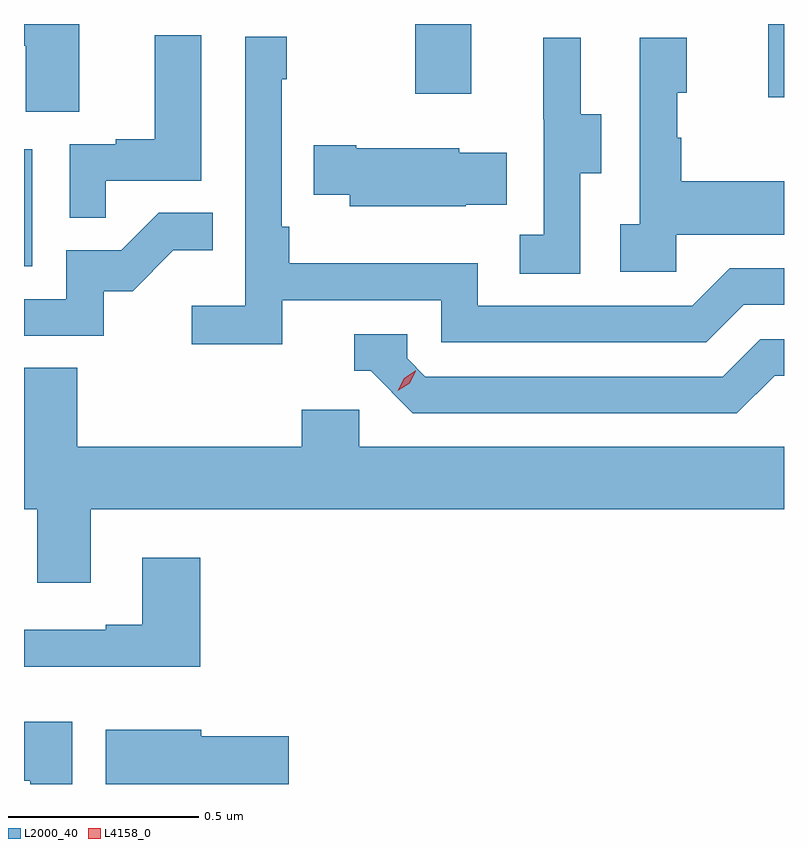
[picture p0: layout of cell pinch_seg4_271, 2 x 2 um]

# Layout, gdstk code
import gdstk
lib = gdstk.Library(unit=1e-6, precision=1e-09)
def R(c, l, rs):  # rectangles x0, y0, x1, y1
    for r in rs: c.add(gdstk.rectangle(r[:2], r[2:], *l))
def P(c, l, *ps):  # polygons
    for p in ps: c.add(gdstk.Polygon(p, *l))
L2000_40 = (2000, 40)
L4158_0 = (4158, 0)

pinch_seg4_271 = lib.new_cell('pinch_seg4_271')
R(pinch_seg4_271, L2000_40, [(932.916,824.1,932.938,824.407), (934.874,824.544,934.916,824.737), (933.946,824.553,934.093,824.737)])
P(pinch_seg4_271, L2000_40, [(933.061,824.737),(932.916,824.737),(932.916,824.68),(932.921,824.68),(932.921,824.506),(933.061,824.506)],
  [(933.131,824.325),(933.382,824.325),(933.382,824.707),(933.26,824.707),(933.26,824.434),(933.157,824.434),(933.157,824.421),(933.036,824.421),(933.036,824.227),(933.131,824.227)],
  [(933.596,824.01),(934.014,824.01),(934.014,823.899),(934.711,823.899),(934.81,823.998),(934.916,823.998),(934.916,824.094),(934.773,824.094),(934.674,823.995),(934.11,823.995),(934.11,824.107),(933.614,824.107),(933.614,824.203),(933.594,824.203),(933.594,824.591),(933.607,824.591),(933.607,824.704),(933.498,824.704),(933.498,823.996),(933.357,823.996),(933.357,823.894),(933.596,823.894)],
  [(934.632,824.183),(934.916,824.183),(934.916,824.323),(934.645,824.323),(934.645,824.438),(934.635,824.438),(934.635,824.556),(934.66,824.556),(934.66,824.701),(934.536,824.701),(934.536,824.21),(934.485,824.21),(934.485,824.085),(934.632,824.085)],
  [(934.38,824.344),(934.435,824.344),(934.435,824.499),(934.381,824.499),(934.381,824.701),(934.283,824.701),(934.283,824.487),(934.284,824.487),(934.284,824.183),(934.221,824.183),(934.221,824.08),(934.38,824.08)],
  [(934.079,824.261),(934.187,824.261),(934.187,824.398),(934.062,824.398),(934.062,824.41),(933.79,824.41),(933.79,824.418),(933.679,824.418),(933.679,824.288),(933.773,824.288),(933.773,824.258),(934.079,824.258)],
  [(933.126,824.034),(933.202,824.034),(933.309,824.141),(933.413,824.141),(933.413,824.24),(933.27,824.24),(933.172,824.142),(933.027,824.142),(933.027,824.013),(932.916,824.013),(932.916,823.917),(933.126,823.917)],
  [(934.891,823.812),(934.916,823.812),(934.916,823.908),(934.854,823.908),(934.755,823.809),(933.972,823.809),(933.924,823.857),(933.924,823.92),(933.785,823.92),(933.785,823.824),(933.828,823.824),(933.939,823.713),(934.792,823.713)],
  [(933.091,823.46),(934.916,823.46),(934.916,823.624),(933.798,823.624),(933.798,823.722),(933.647,823.722),(933.647,823.624),(933.056,823.624),(933.056,823.832),(932.916,823.832),(932.916,823.46),(932.951,823.46),(932.951,823.266),(933.091,823.266)],
  [(933.38,823.333),(933.227,823.333),(933.227,823.156),(933.131,823.156),(933.131,823.143),(932.916,823.143),(932.916,823.046),(933.38,823.046)],
  [(933.043,822.901),(932.916,822.901),(932.916,822.745),(932.933,822.745),(932.933,822.737),(933.043,822.737)],
  [(933.613,822.863),(933.382,822.863),(933.382,822.88),(933.131,822.88),(933.131,822.737),(933.613,822.737)])
P(pinch_seg4_271, L4158_0, [(933.9,823.772),(933.9,823.772),(933.916,823.805),(933.946,823.824),(933.947,823.824),(933.947,823.824),(933.931,823.791),(933.9,823.772)])

lib.write_gds('pinch_seg4_271.gds')
